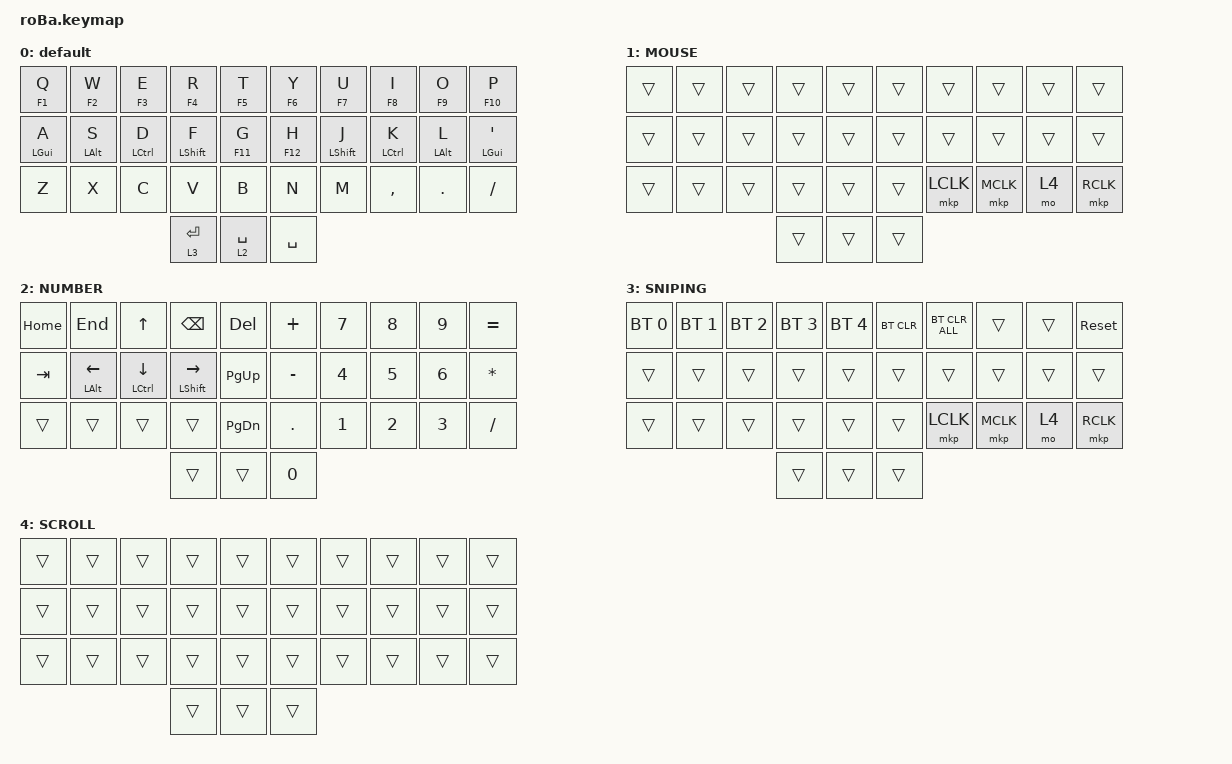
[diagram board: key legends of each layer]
#include <dt-bindings/zmk/input_transform.h>
#include <zephyr/dt-bindings/input/input-event-codes.h>
#include <input/processors.dtsi>
#include <behaviors.dtsi>
#include <dt-bindings/zmk/bt.h>
#include <dt-bindings/zmk/keys.h>
#include <dt-bindings/zmk/pointing.h>

#define SCROLL &mo 4

/ {
    zip_temp_layer: zip_temp_layer {
        compatible = "zmk,input-processor-temp-layer";
        #input-processor-cells = <2>;
        require-prior-idle-ms = <500>;
        excluded-positions = <26 27 28 29>;
    };

    trackball_listener {
        input-processors = <&zip_temp_layer 1 700>;

        scroller {
            layers = <4>;
            input-processors = <
                   &zip_xy_to_scroll_mapper
                   &zip_scroll_transform INPUT_TRANSFORM_Y_INVERT
                   &zip_scroll_scaler 1 12
            >;
            process-next;
        };

        sniping {
            layers = <3>;
            input-processors = <&zip_xy_scaler 1 3>;
            process-next;
        };
    };

    behaviors {
        hm: homerow_mods {
            compatible = "zmk,behavior-hold-tap";
            #binding-cells = <2>;
            tapping-term-ms = <200>;
            quick-tap-ms = <200>;
            require-prior-idle-ms = <100>;
            flavor = "tap-preferred";
            bindings = <&kp>, <&kp>;
        };

        ht: positional_hold_tap {
            compatible = "zmk,behavior-hold-tap";
            #binding-cells = <2>;
            tapping-term-ms = <200>;
            quick-tap-ms = <200>;
            require-prior-idle-ms = <100>;
            flavor = "tap-preferred";
            bindings = <&kp>, <&kp>;
        };
    };
};

/ {
    macros {
        par: par {
            compatible = "zmk,behavior-macro";
            #binding-cells = <0>;
            bindings =
                <&macro_tap_time 10>,
                <&macro_tap>,
                <&kp RPAR &kp LEFT &kp LPAR>;
        };

        bkt: bkt {
            compatible = "zmk,behavior-macro";
            #binding-cells = <0>;
            bindings =
                <&macro_tap_time 10>,
                <&macro_tap>,
                <&kp RBKT &kp LEFT &kp LBKT>;
        };
    };
};

/ {
    combos {
        compatible = "zmk,combos";

        combo_esc {
            timeout-ms = <50>;
            bindings = <&kp ESC>;
            key-positions = <0 1>;
        };

        combo_grave {
            timeout-ms = <50>;
            bindings = <&kp GRAVE>;
            key-positions = <1 2>;
        };

        combo_cut {
            timeout-ms = <50>;
            bindings = <&kp LC(X)>;
            key-positions = <20 21>;
        };

        combo_copy {
            timeout-ms = <50>;
            bindings = <&kp LC(C)>;
            key-positions = <21 22>;
        };

        combo_paste {
            timeout-ms = <50>;
            bindings = <&kp LC(V)>;
            key-positions = <22 23>;
        };

        combo_lang {
            timeout-ms = <50>;
            bindings = <&kp RALT>;
            key-positions = <27 28>;
        };

        combo_capslock {
            timeout-ms = <50>;
            bindings = <&kp CAPS>;
            key-positions = <17 18>;
        };

        combo_bkt {
            timeout-ms = <50>;
            bindings = <&bkt>;
            key-positions = <6 7>;
        };

        combo_par {
            timeout-ms = <50>;
            bindings = <&par>;
            key-positions = <7 8>;
        };

        combo_bslh {
            timeout-ms = <50>;
            bindings = <&kp BSLH>;
            key-positions = <8 9>;
        };

        combo_sqt {
            timeout-ms = <50>;
            bindings = <&kp SEMI>;
            key-positions = <18 19>;
        };

        combo_b {
            timeout-ms = <50>;
            bindings = <&kp B>;
            key-positions = <25 26>;
        };

        combo_m {
            timeout-ms = <50>;
            bindings = <&kp M>;
            key-positions = <26 27>;
            layers = <1>;
        };

        combo_mouse4 {
            timeout-ms = <50>;
            bindings = <&mkp MB4>;
            key-positions = <26 17>;
        };

        combo_mouse5 {
            timeout-ms = <50>;
            bindings = <&mkp MB5>;
            key-positions = <28 17>;
        };

            combo_reset {
            timeout-ms = <50>;
            bindings = <&sys_reset>;
            key-positions = <6 7 8>;
        };
    };

    keymap {
        compatible = "zmk,keymap";

        default_layer {
            label = "default";
            bindings = <
&ht F1 Q    &ht F2 W    &ht F3 E     &ht F4 R     &ht F5 T             &ht F6 Y   &ht F7 U     &ht F8 I   &ht F9 O  &ht F10 P
&hm LGUI A  &hm LALT S  &hm LCTRL D  &hm LSHFT F  &ht F11 G            &ht F12 H  &hm LSHFT J  &hm LCTRL K      &hm LALT L     &hm LGUI SQT
&kp Z       &kp X       &kp C        &kp V        &kp B                &kp N      &kp M        &kp COMMA  &kp DOT   &kp FSLH
                                     &lt 3 ENTER  &lt 2 SPACE          &kp SPACE
            >;
        };

        MOUSE {
            label = "MOUSE";
            bindings = <
&trans  &trans  &trans  &trans  &trans          &trans  &trans     &trans            &trans     &trans
&trans  &trans  &trans  &trans  &trans          &trans  &trans     &trans            &trans     &trans
&trans  &trans  &trans  &trans  &trans          &trans  &mkp LCLK  &mkp MCLK SCROLL  &mkp RCLK  &trans
                        &trans  &trans
            >;
        };

        NUMBER {
            label = "NUMBER";
            bindings = <
&kp HOME      &kp END        &kp UP          &kp BSPC         &kp DEL            &kp PLUS   &kp N7  &kp N8  &kp N9  &kp EQUAL
&kp TAB  &hm LALT LEFT  &hm LCTRL DOWN  &hm LSHFT RIGHT  &kp PG_UP          &kp MINUS  &kp N4  &kp N5  &kp N6  &kp STAR
&trans        &trans         &trans          &trans           &kp PG_DN          &kp DOT     &kp N1  &kp N2  &kp N3  &kp FSLH
                                             &trans           &trans             &kp N0
            >;
        };

        FUNCTION {
            label = "SNIPING";
            bindings = <
&bt BT_SEL 0  &bt BT_SEL 1  &bt BT_SEL 2  &bt BT_SEL 3  &bt BT_SEL 4          &bt BT_CLR  &bt BT_CLR_ALL  &trans            &trans     &sys_reset
&trans        &trans        &trans        &trans        &trans                &trans      &trans          &trans            &trans     &trans
&trans        &trans        &trans        &trans        &trans                &trans      &mkp LCLK       &mkp MCLK SCROLL  &mkp RCLK  &trans
                                          &trans        &trans
            >;
        };

        SCROLL_layer {
            label = "SCROLL";
            bindings = <
&trans  &trans  &trans  &trans  &trans          &trans  &trans  &trans  &trans  &trans
&trans  &trans  &trans  &trans  &trans          &trans  &trans  &trans  &trans  &trans
&trans  &trans  &trans  &trans  &trans          &trans  &trans  &trans  &trans  &trans
                        &trans  &trans          &trans
            >;
        };
    };
};
